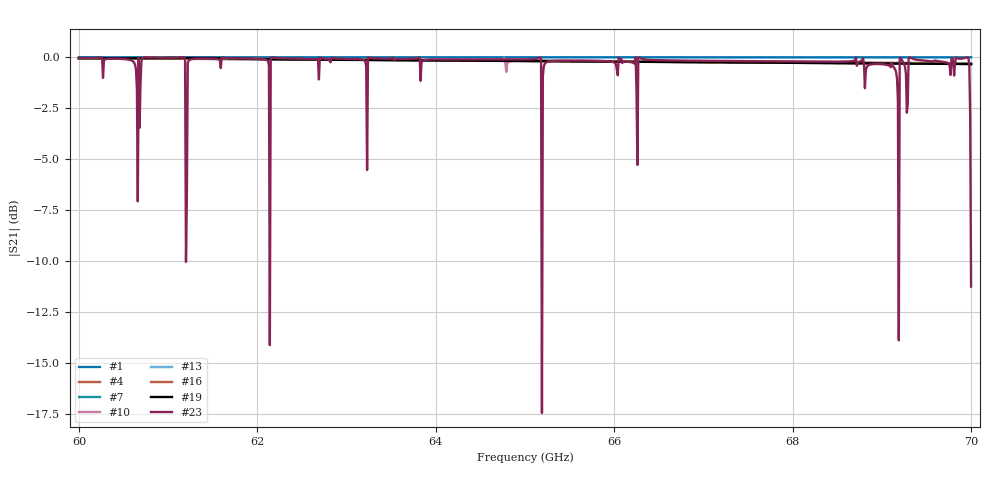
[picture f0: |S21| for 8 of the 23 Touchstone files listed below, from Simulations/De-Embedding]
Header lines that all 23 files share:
! TOUCHSTONE file generated by CST MICROWAVE STUDIO
! Header version: 2018
! Port assignment regex: !\s*Touchstone port\s*([0-9]+)\s*=\s*(CST MWS port|CST DS port)\s*([0-9]+|Zmin|Zmax)\s*\(\"(.*)\"\)(\s*mode\s*([0-9]+))?.*
! Touchstone port assignment:
! Touchstone port 1 = CST MWS port 1 ("")
! Touchstone port 2 = CST MWS port 2 ("")
# GHz S MA R 376.7
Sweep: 60 GHz to 70 GHz
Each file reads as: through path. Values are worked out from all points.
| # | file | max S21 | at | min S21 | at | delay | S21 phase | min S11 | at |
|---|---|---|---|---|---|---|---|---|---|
| 1 | aire_3cm.s2p | 0.00 dB | 63.51 GHz | 0.0 dB | 67.55 GHz | 6.51 ps | -155 deg at 65 GHz | -79.4 dB | 64.28 GHz |
| 2 | MUT_3cm.s2p | -0.05 dB | 60 GHz | -0.3 dB | 70 GHz | 9.23 ps | 144 deg at 65 GHz | -19.1 dB | 60 GHz |
| 3 | MUT_rotado_3cm_X_0.s2p | -0.06 dB | 60 GHz | -0.3 dB | 70 GHz | 9.22 ps | 144 deg at 65 GHz | -19.1 dB | 60 GHz |
| 4 | MUT_rotado_3cm_X_025.s2p | -0.05 dB | 60 GHz | -0.3 dB | 70 GHz | 9.18 ps | 144 deg at 65 GHz | -19.1 dB | 60 GHz |
| 5 | MUT_rotado_3cm_X_050.s2p | -0.05 dB | 60 GHz | -0.3 dB | 70 GHz | 9.17 ps | 144 deg at 65 GHz | -19.2 dB | 60 GHz |
| 6 | MUT_rotado_3cm_X_075.s2p | -0.05 dB | 60 GHz | -0.3 dB | 70 GHz | 9.2 ps | 144 deg at 65 GHz | -19.3 dB | 60 GHz |
| 7 | MUT_rotado_3cm_X_100.s2p | -0.05 dB | 60 GHz | -0.3 dB | 70 GHz | 9.25 ps | 145 deg at 65 GHz | -19.4 dB | 60 GHz |
| 8 | MUT_rotado_3cm_X_125.s2p | -0.05 dB | 60 GHz | -0.4 dB | 64.77 GHz | 9.19 ps | 145 deg at 65 GHz | -19.5 dB | 60 GHz |
| 9 | MUT_rotado_3cm_X_150.s2p | -0.03 dB | 64.76 GHz | -7.8 dB | 64.77 GHz | - | 145 deg at 65 GHz | -21.3 dB | 64.76 GHz |
| 10 | MUT_rotado_3cm_X_175.s2p | -0.04 dB | 64.77 GHz | -0.7 dB | 64.79 GHz | - | 145 deg at 65 GHz | -20.8 dB | 64.77 GHz |
| 11 | MUT_rotado_3cm_X_200.s2p | -0.03 dB | 64.77 GHz | -2.9 dB | 64.79 GHz | - | 145 deg at 65 GHz | -21.2 dB | 64.77 GHz |
| 12 | MUT_rotado_3cm_X_500.s2p | 0.00 dB | 60.97 GHz | -17.2 dB | 69.86 GHz | - | 155 deg at 65 GHz | -37.1 dB | 60.97 GHz |
| 13 | MUT_rotado_3cm_Y_1.s2p | -0.06 dB | 60 GHz | -0.3 dB | 70 GHz | 9.23 ps | 144 deg at 65 GHz | -19.1 dB | 60 GHz |
| 14 | MUT_rotado_3cm_Y_2.s2p | -0.05 dB | 60 GHz | -0.3 dB | 70 GHz | 8.99 ps | 145 deg at 65 GHz | -19.4 dB | 60 GHz |
| 15 | MUT_rotado_3cm_Y_3.s2p | -0.05 dB | 60 GHz | -0.3 dB | 70 GHz | 9.06 ps | 145 deg at 65 GHz | -19.3 dB | 60 GHz |
| 16 | MUT_rotado_3cm_Y_4.s2p | -0.05 dB | 60 GHz | -0.3 dB | 70 GHz | 9.03 ps | 145 deg at 65 GHz | -19.5 dB | 60 GHz |
| 17 | MUT_rotado_3cm_Y_5.s2p | -0.05 dB | 60 GHz | -0.3 dB | 70 GHz | 9.09 ps | 145 deg at 65 GHz | -19.4 dB | 60 GHz |
| 18 | MUT_rotado_3cm_Y_6.s2p | -0.05 dB | 60.24 GHz | -0.3 dB | 70 GHz | 9.08 ps | 145 deg at 65 GHz | -19.3 dB | 60 GHz |
| 19 | MUT_rotado_3cm_Y_7.s2p | -0.03 dB | 61.36 GHz | -0.3 dB | 70 GHz | 9.17 ps | 145 deg at 65 GHz | -19.7 dB | 60 GHz |
| 20 | MUT_rotado_3cm_Y_8.s2p | -0.05 dB | 60 GHz | -1.6 dB | 64.78 GHz | - | 146 deg at 65 GHz | -21.3 dB | 64.77 GHz |
| 21 | MUT_rotado_3cm_Y_9.s2p | -0.05 dB | 60 GHz | -0.4 dB | 70 GHz | 9.22 ps | 146 deg at 65 GHz | -19.5 dB | 60 GHz |
| 22 | MUT_rotado_3cm_Z_1.s2p | -0.05 dB | 60 GHz | -0.3 dB | 70 GHz | 9.23 ps | 144 deg at 65 GHz | -19.1 dB | 60 GHz |
| 23 | MUT_rotado_3cm_Z_2.s2p | 0.00 dB | 69.96 GHz | -17.4 dB | 65.19 GHz | - | 148 deg at 65 GHz | -55.5 dB | 60.75 GHz |
